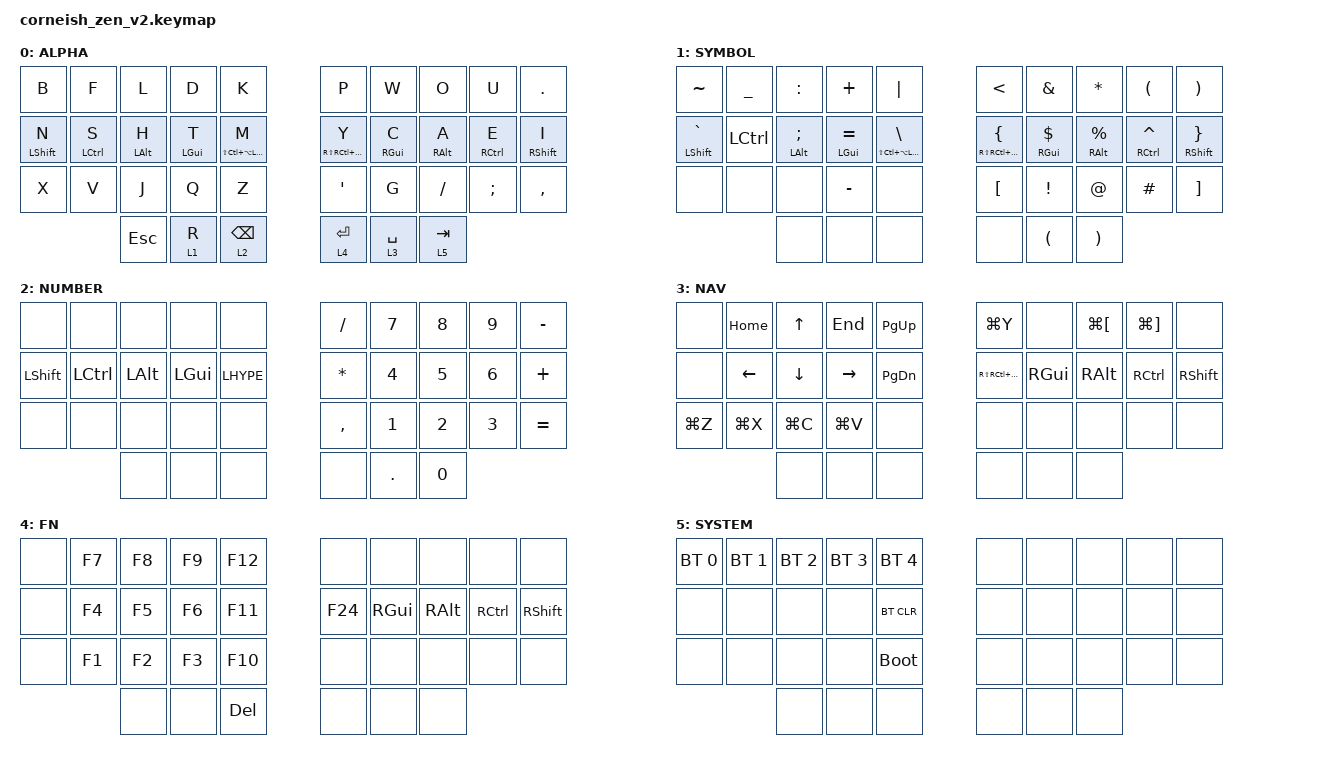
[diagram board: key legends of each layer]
/*
*
* Copyright (c) 2021 Darryl deHaan
* SPDX-License-Identifier: MIT
*
*/

#define LHYP LS(LC(LA(LCMD)))
#define RHYP RS(RC(RA(RCMD)))

#include <behaviors.dtsi>
#include <dt-bindings/zmk/bt.h>
#include <dt-bindings/zmk/keys.h>

/ {
    chosen {
        // zmk,matrix-transform = &default_transform;

        zmk,matrix-transform = &five_column_transform;
    };
};

/ {
    behaviors {
        hm: homerow_mods {
            compatible = "zmk,behavior-hold-tap";
            #binding-cells = <2>;
            tapping-term-ms = <150>;
            quick-tap-ms = <0>;
            flavor = "tap-preferred";
            bindings = <&kp>, <&kp>;
        };
    };
};

/ {
    keymap {
        compatible = "zmk,keymap";

        default_layer {
            display-name = "ALPHA";

            // -----------------------------------------------------------------------------------------------
            // |  B  |  F  |  L  |  D  |  K  |                                 |  P  |  W  |  O  |  U  |  .  |
            // |  N  |  S  |  H  |  T  |  M  |                                 |  Y  |  C  |  A  |  E  |  I  |
            // |  X  |  V  |  J  |  Q  |  Z  |                                 |  '  |  G  |  /  |  ;  |  ,  |
            //             | ESC |  R  | DEL |                                 | ENT | SPC | TAB |

            bindings = <
  &kp B        &kp F        &kp L       &kp D       &kp K                     &kp P       &kp W        &kp O       &kp U        &kp DOT
  &hm LSHFT N  &hm LCTRL S  &hm LALT H  &hm LGUI T  &hm LHYP M                &hm RHYP Y  &hm RGUI C   &hm RALT A  &hm RCTRL E  &hm RSHFT I
  &kp X        &kp V        &kp J       &kp Q       &kp Z                     &kp SQT     &kp G        &kp SLASH   &kp SEMI     &kp COMMA
                            &kp ESC     &lt 1 R     &lt 2 BSPC                &lt 4 RET   &lt 3 SPACE  &lt 5 TAB
            >;
        };

        sym_layer {
            display-name = "SYMBOL";

            // --------------------------------------------------------------------------------------
            // |  ~  |  _  |  :  |  +  | '|' |                        |  <  |  &  |  *  |  (  |  )  |
            // |  `  |     |  ;  |  =  |  \  |                        |  {  |  $  |  %  |  ^  |  }  |
            // |     |     |     |  -  |     |                        |  [  |  !  |  @  |  #  |  ]  |
            //             |     |     |     |                        |  (  |  )  |     |

            bindings = <
  &kp TILDE        &kp UNDER  &kp COLON      &kp PLUS        &kp PIPE                     &kp LT         &kp AMPS       &kp ASTRK       &kp LPAR         &kp RPAR
  &hm LSHFT GRAVE  &kp LCTRL  &hm LALT SEMI  &hm LGUI EQUAL  &hm LHYP BSLH                &hm RHYP LBRC  &hm RGUI DLLR  &hm RALT PRCNT  &hm RCTRL CARET  &hm RSHFT RBRC
  &none            &none      &none          &kp MINUS       &none                        &kp LBKT       &kp EXCL       &kp AT          &kp HASH         &kp RBKT
                              &none          &none           &none                        &none          &kp LPAR       &kp RPAR
            >;
        };

        num_layer {
            display-name = "NUMBER";

            // ------------------------------------------------------------------------------
            // |     |     |     |     |     |                |  /  |  7  |  8  |  9  |  -  |
            // | SHF | CTL | OPT | CMD | HYP |                |  *  |  4  |  5  |  6  |  +  |
            // |     |     |     |     |     |                |  ,  |  1  |  2  |  3  |  =  |
            //             |     |     |     |                |  .  |  0  |     |

            bindings = <
  &none      &none      &none     &none     &none                   &kp FSLH   &kp N7   &kp N8  &kp N9  &kp MINUS
  &kp LSHFT  &kp LCTRL  &kp LALT  &kp LGUI  &kp LHYPE               &kp ASTRK  &kp N4   &kp N5  &kp N6  &kp PLUS
  &none      &none      &none     &none     &none                   &kp COMMA  &kp N1   &kp N2  &kp N3  &kp EQUAL
                        &none     &none     &none                   &none      &kp DOT  &kp N0
            >;
        };

        nav_layer {
            display-name = "NAV";

            // -------------------------------------------------------------------------------------
            // |      | HOME |  ↑   | END  | PGUP |               | REDO |     | PGBK | PGFD |     |
            // |      |   ←  |  ↓   |  →   | PGDN |               | HYP  | CMD | OPT  | CTL  | SHF |
            // | UNDO | CUT  | COPY | PSTE |      |               |      |     |      |      |     |
            //               |      |      |      |               |      |     |      |

            bindings = <
  &none      &kp HOME   &kp UP     &kp END    &kp PG_UP             &kp LG(Y)  &none     &kp LG(LBKT)  &kp LG(RBKT)  &none
  &none      &kp LEFT   &kp DOWN   &kp RIGHT  &kp PG_DN             &kp RHYP   &kp RGUI  &kp RALT      &kp RCTRL     &kp RSHFT
  &kp LG(Z)  &kp LG(X)  &kp LG(C)  &kp LG(V)  &none                 &none      &none     &none         &none         &none
                        &none      &none      &none                 &none      &none     &none
            >;
        };

        fn_layer {
            display-name = "FN";

            // ----------------------------------------------------------------------------------
            // |    |  F7  |  F8  |  F9  |  F12  |              |       |     |     |     |     |
            // |    |  F4  |  F5  |  F6  |  F11  |              | GLOBE | CMD | OPT | CTL | SHF |
            // |    |  F1  |  F2  |  F3  |  F10  |              |       |     |     |     |     |
            //             |      |      |       |              |       |     |     |

            bindings = <
  &none  &kp F7  &kp F8  &kp F9  &kp F12                &none    &none     &none     &none      &none
  &none  &kp F4  &kp F5  &kp F6  &kp F11                &kp F24  &kp RGUI  &kp RALT  &kp RCTRL  &kp RSHFT
  &none  &kp F1  &kp F2  &kp F3  &kp F10                &none    &none     &none     &none      &none
                 &none   &none   &kp DEL                &none    &none     &none
            >;
        };

        sys_layer {
            display-name = "SYSTEM";

            // ----------------------------------------------------------------------------
            // | BT 0 | BT 1 | BT 2 | BT 3 |  BT 4  |           |     |    |    |    |    |                
            // |      |      |      |      | BT CLR |           |     |    |    |    |    |
            // |      |      |      |      | BOOTL  |           |     |    |    |    |    |
            //               |      |      |        |           |     |    |    |

            bindings = <
  &bt BT_SEL 0  &bt BT_SEL 1  &bt BT_SEL 2  &bt BT_SEL 3  &bt BT_SEL 4          &none  &none  &none  &none  &none
  &none         &none         &none         &none         &bt BT_CLR            &none  &none  &none  &none  &none
  &none         &none         &none         &none         &bootloader           &none  &none  &none  &none  &none
                              &none         &none         &none                 &none  &none  &none
            >;
        };
    };
};
